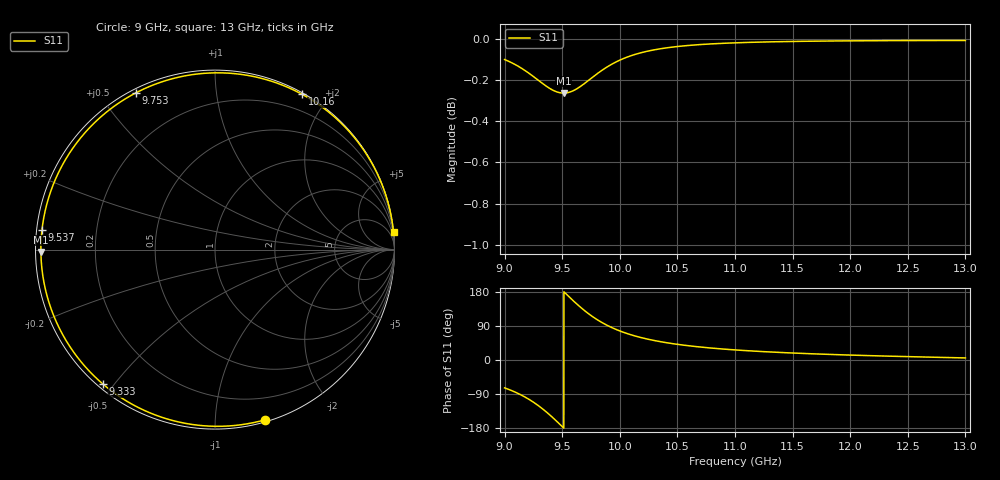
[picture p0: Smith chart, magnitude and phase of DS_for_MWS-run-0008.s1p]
! TOUCHSTONE file generated by CST DESIGN STUDIO
! Date and time: Tue Feb  4 12:23:04 2025
! Project name: C:\Work\MatlabApps\UnitCellOptimizationMatlab\CST\unitcell.cst
! Tree item: Tasks\Sweep1\SPara1\S-Parameters
! Header version: 2024
! Port assignment regex: !\s*Touchstone port\s*([0-9]+)\s*=\s*(CST MWS port|CST DES external port|CST DES block port)\s*(.+)\s* \(\"(.*)\"\)(\s*mode\s*([0-9]+))?.*
! Touchstone port assignment:
! Touchstone port 1 = CST DES external port 1 ("")
# GHz S MA R 50
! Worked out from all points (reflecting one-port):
!   4001 points, 9 GHz to 13 GHz, reference 50 ohm
!   lowest |S11| = -0.3 dB at 9.512 GHz (marker M1), VSWR 66.06, Z = 0.757 - j0.346 ohm
!   phase of S11 starts at -74 deg and turns -281 deg over the sweep
!   S11 on the Smith chart (normalised r, x): 9 GHz: 0.02, -1.34; 9.333 GHz: 0.02, -0.47; 9.537 GHz: 0.02, +0.06; 9.753 GHz: 0.02, +0.62; 10.16 GHz: 0.02, +1.71; 13 GHz: 0, +21
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9  0.9886 -73.5
9.09  0.9859 -84.5
9.194  0.9818 -100.7
9.267  0.9784 -114.8
9.333  0.9752 -129.8
9.378  0.9732 -141.2
9.425  0.9716 -154.0
9.463  0.9706 -164.8
9.5  0.9702 -175.7
9.512  0.9702 -179.2
9.537  0.9703 173.4
9.59  0.9713 158.0
9.65  0.9734 141.5
9.701  0.9758 128.6
9.753  0.9783 116.7
9.804  0.9808 106.3
9.86  0.9833 96.3
10  0.9882 76.7
10.079  0.9903 68.2
10.164  0.992 60.8
10.317  0.9942 50.3
10.5  0.9958 41.3
10.722  0.997 33.5
11  0.9978 26.6
11.5  0.9986 18.4
12  0.999 13.0
12.5  0.9991 8.9
13  0.9992 5.5
